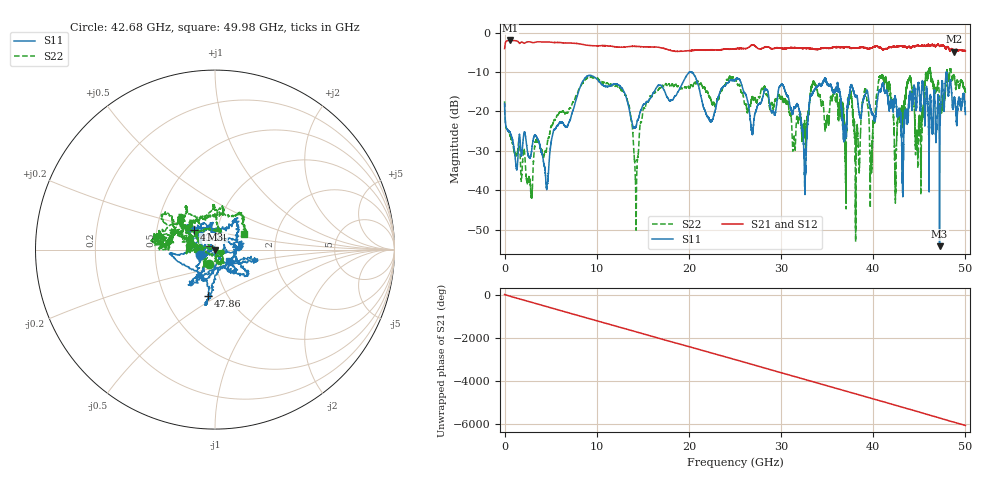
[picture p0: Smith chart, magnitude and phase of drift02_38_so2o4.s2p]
!Created with skrf (http://scikit-rf.org).
# Hz S RI R 50.0
!freq ReS11 ImS11 ReS21 ImS21 ReS12 ImS12 ReS22 ImS22
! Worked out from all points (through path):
!   10001 points, 300 kHz to 50 GHz, reference 50 ohm
!   highest |S21| = -1.99 dB at 600.3 MHz (marker M1); lowest = -4.8 dB at 48.77 GHz (marker M2)
!   group delay of S21, straight-line fit = 337 ps
!   lowest |S11| = -54.2 dB at 47.2 GHz (marker M3), VSWR 1.00, Z = 49.8 - j0.113 ohm
!   |S11| at or under -10 dB: start of sweep to 20.07 GHz; 20.20756 GHz to 20.2206 GHz (13.04 MHz wide, 0.0645 % of centre); 20.24 GHz to end of sweep (the widest 3 of 5)
!   |S22| runs from -53.1 to -8.9 dB; largest |S21 - S12| = 0.033
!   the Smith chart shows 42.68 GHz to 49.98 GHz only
!   S11 on the Smith chart (normalised r, x): 42.68 GHz: 0.84, -0.05; 43.94 GHz: 0.77, +0.18; 47.86 GHz: 0.81, -0.45; 49.98 GHz: 1.16, -0.15
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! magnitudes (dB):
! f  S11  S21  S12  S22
! 300 kHz  -17.9  -4.1  -4.0  -17.4
! 600.3 MHz  -25.4  -2.0  -2.0  -26.2
! 4.565 GHz  -39.9  -2.4  -2.4  -29.4
! 8.335 GHz  -13.0  -2.9  -2.9  -13.2
! 13.01 GHz  -15.3  -3.7  -3.7  -15.7
! 14.28 GHz  -23.8  -3.5  -3.5  -49.6
! 16.67 GHz  -13.4  -3.7  -3.7  -14.5
! 25 GHz  -12.1  -4.1  -4.1  -12.1
! 30.18 GHz  -13.4  -4.1  -4.1  -16.9
! 32.56 GHz  -39.1  -3.9  -3.9  -24.6
! 33.34 GHz  -15.8  -4.0  -4.0  -13.7
! 38.29 GHz  -16.8  -3.9  -3.9  -24.2
! 41.67 GHz  -18.4  -3.8  -3.9  -12.7
! 42.68 GHz  -20.9  -3.5  -3.4  -21.2
! 43.94 GHz  -15.8  -3.5  -3.6  -11.6
! 44.99 GHz  -14.2  -3.4  -3.3  -21.1
! 45.91 GHz  -17.9  -3.2  -3.1  -11.8
! 47.2 GHz  -54.2  -3.5  -3.5  -16.4
! 47.86 GHz  -11.6  -4.1  -4.1  -13.1
! 48.77 GHz  -17.1  -4.8  -4.8  -10.7
! 49.98 GHz  -20.0  -4.6  -4.6  -14.7
! 50 GHz  -20.8  -4.6  -4.6  -15.3
